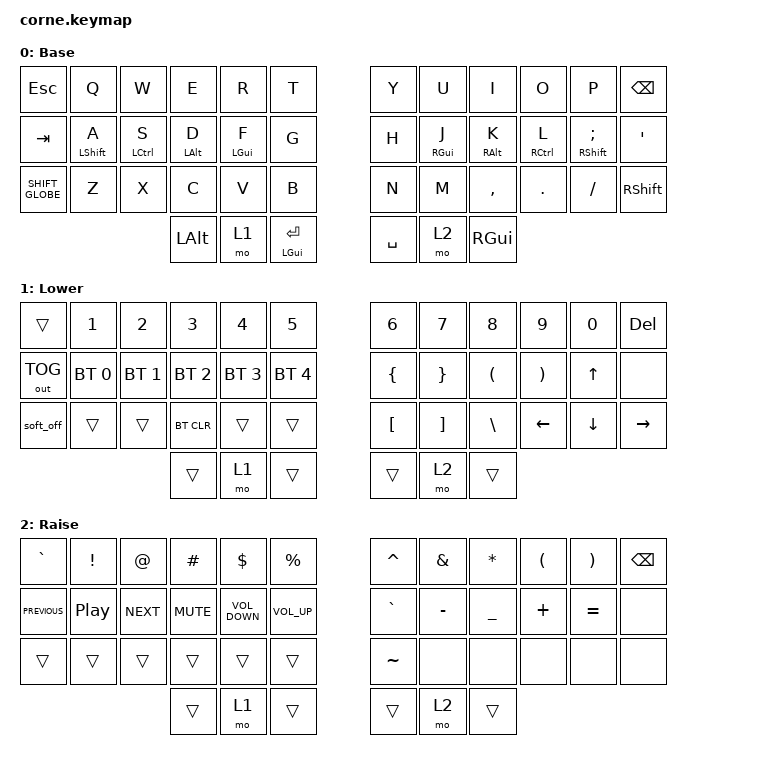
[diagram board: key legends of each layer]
/*
 * Copyright (c) 2020 The ZMK Contributors
 *
 * SPDX-License-Identifier: MIT
 */

#include <behaviors.dtsi>
#include <dt-bindings/zmk/bt.h>
#include <dt-bindings/zmk/keys.h>
#include <dt-bindings/zmk/outputs.h>

/ {
    combos {
        compatible = "zmk,combos";

        caps_combo {
            bindings = <&caps_word>;
            key-positions = <24 35>;
        };
    };

    behaviors {
        lh_pht: left_positional_hold_tap {
            compatible = "zmk,behavior-hold-tap";
            #binding-cells = <2>;
            flavor = "tap-preferred";
            tapping-term-ms = <150>;
            quick-tap-ms = <0>;
            bindings = <&kp>, <&kp>;

            hold-trigger-key-positions = <6 7 8 9 10 11 18 19 20 21 22 23 30 31 32 33 34 35 39>;    // <---[[right-hand keys]]
        };

        rh_pht: right_positional_hold_tap {
            compatible = "zmk,behavior-hold-tap";
            #binding-cells = <2>;
            flavor = "tap-preferred";
            tapping-term-ms = <150>;
            quick-tap-ms = <0>;
            bindings = <&kp>, <&kp>;

            hold-trigger-key-positions = <0 1 2 3 4 5 12 13 14 15 16 17 24 25 26 27 28 29>;    // <---[[left-hand keys]]
        };

        SHIFT_GLOBE: SHIFT_GLOBE {
            compatible = "zmk,behavior-tap-dance";
            label = "SHIFT_GLOBE";
            #binding-cells = <0>;
            bindings = <&kp LEFT_SHIFT>, <&kp GLOBE>;

            tapping-term-ms = <500>;
        };
    };

    keymap {
        compatible = "zmk,keymap";

        default_layer {
            // -----------------------------------------------------------------------------------------
            // |  TAB |  Q  |  W  |  E  |  R  |  T  |   |  Y  |  U   |  I  |  O  |  P  | BKSP |
            // | CTRL |  A  |  S  |  D  |  F  |  G  |   |  H  |  J   |  K  |  L  |  ;  |  '   |
            // | SHFT |  Z  |  X  |  C  |  V  |  B  |   |  N  |  M   |  ,  |  .  |  /  | ESC  |
            //                    | GUI | LWR | SPC |   | ENT | RSE  | ALT |

            display-name = "Base";
            bindings = <
&kp ESC       &kp Q                 &kp W                   &kp E               &kp R               &kp T               &kp Y      &kp U                &kp I                &kp O                    &kp P                     &kp BSPC
&kp TAB       &lh_pht LEFT_SHIFT A  &lh_pht LEFT_CONTROL S  &lh_pht LEFT_ALT D  &lh_pht LEFT_GUI F  &kp G               &kp H      &rh_pht RIGHT_GUI J  &rh_pht RIGHT_ALT K  &rh_pht RIGHT_CONTROL L  &rh_pht RIGHT_SHIFT SEMI  &kp SQT
&SHIFT_GLOBE  &kp Z                 &kp X                   &kp C               &kp V               &kp B               &kp N      &kp M                &kp COMMA            &kp DOT                  &kp FSLH                  &kp RIGHT_SHIFT
                                                            &kp LEFT_ALT        &mo 1               &mt LEFT_GUI RET    &kp SPACE  &mo 2                &kp RIGHT_GUI
            >;
        };

        lower_layer {
            // -----------------------------------------------------------------------------------------
            // |  TAB |  1  |  2  |  3  |  4  |  5  |   |  6  |  7  |  8  |  9  |  0  | BKSP |
            // | BTCLR| BT1 | BT2 | BT3 | BT4 | BT5 |   | LFT | DWN |  UP | RGT |     |      |
            // | SHFT |     |     |     |     |     |   |     |     |     |     |     |      |
            //                    | GUI |     | SPC |   | ENT |     | ALT |

            display-name = "Lower";
            bindings = <
&trans        &kp N1        &kp N2        &kp N3        &kp N4        &kp N5          &kp NUMBER_6      &kp N7             &kp N8                &kp N9                 &kp N0        &kp DELETE
&out OUT_TOG  &bt BT_SEL 0  &bt BT_SEL 1  &bt BT_SEL 2  &bt BT_SEL 3  &bt BT_SEL 4    &kp LEFT_BRACE    &kp RIGHT_BRACE    &kp LEFT_PARENTHESIS  &kp RIGHT_PARENTHESIS  &kp UP_ARROW  &none
&soft_off     &trans        &trans        &bt BT_CLR    &trans        &trans          &kp LEFT_BRACKET  &kp RIGHT_BRACKET  &kp BACKSLASH         &kp LEFT               &kp DOWN      &kp RIGHT
                                          &trans        &mo 1         &trans          &trans            &mo 2              &trans
            >;
        };

        raise_layer {
            // -----------------------------------------------------------------------------------------
            // |  TAB |  !  |  @  |  #  |  $  |  %  |   |  ^  |  &  |  *  |  (  |  )  | BKSP |
            // | CTRL |     |     |     |     |     |   |  -  |  =  |  [  |  ]  |  \  |  `   |
            // | SHFT |     |     |     |     |     |   |  _  |  +  |  {  |  }  | "|" |  ~   |
            //                    | GUI |     | SPC |   | ENT |     | ALT |

            display-name = "Raise";
            bindings = <
&kp GRAVE       &kp EXCL          &kp AT      &kp HASH    &kp DLLR           &kp PRCNT          &kp CARET  &kp AMPS   &kp ASTRK       &kp LPAR  &kp RPAR   &kp BSPC
&kp C_PREVIOUS  &kp C_PLAY_PAUSE  &kp C_NEXT  &kp C_MUTE  &kp C_VOLUME_DOWN  &kp C_VOLUME_UP    &kp GRAVE  &kp MINUS  &kp UNDERSCORE  &kp PLUS  &kp EQUAL  &none
&trans          &trans            &trans      &trans      &trans             &trans             &kp TILDE  &none      &none           &none     &none      &none
                                              &trans      &mo 1              &trans             &trans     &mo 2      &trans
            >;
        };
    };
};
